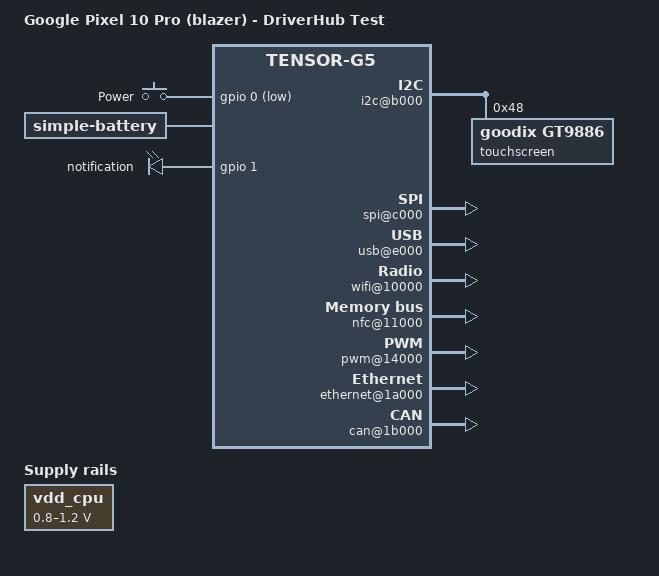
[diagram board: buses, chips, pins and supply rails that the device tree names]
/dts-v1/;

/*
 * Synthetic Pixel 10 Pro (blazer) device tree for DriverHub testing.
 *
 * This DTB exercises module enumeration through compatible strings
 * that match GKI system_dlkm modules. It is NOT a real Pixel 10 DTB —
 * it's a test fixture for validating that DriverHub's DT visitor can
 * enumerate modules and trigger loading.
 *
 * Based on:
 *   - GKI android15-6.6 system_dlkm modules (192 modules)
 *   - Pixel 10 Pro (blazer) SoC: Google Tensor G5
 */

/ {
	model = "Google Pixel 10 Pro (blazer) - DriverHub Test";
	compatible = "google,blazer", "google,tensor-g5";

	#address-cells = <2>;
	#size-cells = <2>;

	chosen {
		bootargs = "console=ttyMSM0,115200n8";
	};

	/* RTC — tests rtc subsystem shims */
	rtc@a000 {
		compatible = "google,tensor-rtc";
		reg = <0x0 0xa000 0x0 0x100>;
		#address-cells = <1>;
		#size-cells = <0>;
	};

	/* I2C bus — tests i2c subsystem */
	i2c@b000 {
		compatible = "google,tensor-i2c";
		reg = <0x0 0xb000 0x0 0x100>;
		#address-cells = <1>;
		#size-cells = <0>;

		/* Touch controller */
		touchscreen@48 {
			compatible = "goodix,gt9886";
			reg = <0x48>;
		};
	};

	/* SPI bus — tests spi subsystem */
	spi@c000 {
		compatible = "google,tensor-spi";
		reg = <0x0 0xc000 0x0 0x100>;
		#address-cells = <1>;
		#size-cells = <0>;
	};

	/* GPIO controller — tests gpio subsystem */
	gpio: gpio@d000 {
		compatible = "google,tensor-gpio";
		reg = <0x0 0xd000 0x0 0x100>;
		gpio-controller;
		#gpio-cells = <2>;
	};

	/* USB — tests usb subsystem shims */
	usb@e000 {
		compatible = "google,tensor-dwc3";
		reg = <0x0 0xe000 0x0 0x1000>;
	};

	/* Bluetooth — exercises bluetooth.ko, rfcomm.ko, btsdio.ko */
	bluetooth {
		compatible = "google,tensor-bt";
	};

	/* WiFi — exercises cfg80211.ko, mac80211.ko */
	wifi@10000 {
		compatible = "google,tensor-wifi";
		reg = <0x0 0x10000 0x0 0x1000>;
	};

	/* NFC — exercises nfc.ko */
	nfc@11000 {
		compatible = "google,tensor-nfc";
		reg = <0x0 0x11000 0x0 0x100>;
	};

	/* Thermal zones — exercises thermal subsystem */
	thermal-zones {
		cpu-thermal {
			polling-delay = <1000>;
			polling-delay-passive = <250>;
			thermal-sensors = <&tsens 0>;
		};
	};

	tsens: thermal-sensor@12000 {
		compatible = "google,tensor-tsens";
		reg = <0x0 0x12000 0x0 0x1000>;
		#thermal-sensor-cells = <1>;
	};

	/* Watchdog — exercises watchdog subsystem */
	watchdog@13000 {
		compatible = "google,tensor-wdt";
		reg = <0x0 0x13000 0x0 0x100>;
	};

	/* PWM — exercises pwm subsystem */
	pwm@14000 {
		compatible = "google,tensor-pwm";
		reg = <0x0 0x14000 0x0 0x100>;
		#pwm-cells = <2>;
	};

	/* Input — exercises input.ko */
	input {
		compatible = "gpio-keys";

		power-key {
			label = "Power";
			linux,code = <116>;  /* KEY_POWER */
			gpios = <&gpio 0 1>;
		};
	};

	/* SCSI / UFS storage — exercises scsi subsystem modules */
	ufs@15000 {
		compatible = "google,tensor-ufs";
		reg = <0x0 0x15000 0x0 0x2000>;
	};

	/* Display / DRM — exercises drm modules */
	display@16000 {
		compatible = "google,tensor-display";
		reg = <0x0 0x16000 0x0 0x10000>;
	};

	/* Power supply — exercises power_supply.ko */
	battery {
		compatible = "simple-battery";
		voltage-min-design-microvolt = <3400000>;
		voltage-max-design-microvolt = <4400000>;
		charge-full-design-microamp-hours = <5000000>;
	};

	/* LEDs — exercises led subsystem */
	leds {
		compatible = "gpio-leds";

		notification-led {
			label = "notification";
			gpios = <&gpio 1 0>;
		};
	};

	/* Regulators — exercises regulator subsystem */
	regulators {
		compatible = "google,tensor-pmic";

		vdd_cpu: regulator@0 {
			compatible = "regulator-fixed";
			regulator-name = "vdd_cpu";
			regulator-min-microvolt = <800000>;
			regulator-max-microvolt = <1200000>;
		};
	};

	/* IOMMU — exercises iommu subsystem */
	iommu@17000 {
		compatible = "google,tensor-smmu";
		reg = <0x0 0x17000 0x0 0x1000>;
		#iommu-cells = <1>;
	};

	/* Clock controller — exercises clock subsystem */
	clock-controller@18000 {
		compatible = "google,tensor-cmu";
		reg = <0x0 0x18000 0x0 0x2000>;
		#clock-cells = <1>;
	};

	/* Pinctrl — exercises pinctrl subsystem */
	pinctrl@19000 {
		compatible = "google,tensor-pinctrl";
		reg = <0x0 0x19000 0x0 0x1000>;
	};

	/* Network — exercises networking modules */
	ethernet@1a000 {
		compatible = "google,tensor-ethernet";
		reg = <0x0 0x1a000 0x0 0x1000>;
	};

	/* CAN bus — exercises can.ko, can-bcm.ko, can-raw.ko, can-gw.ko, vcan.ko */
	can@1b000 {
		compatible = "google,tensor-can";
		reg = <0x0 0x1b000 0x0 0x100>;
	};

	/* Crypto engine — exercises crypto modules */
	crypto@1c000 {
		compatible = "google,tensor-crypto";
		reg = <0x0 0x1c000 0x0 0x1000>;
	};

	/* RNG */
	rng@1d000 {
		compatible = "google,tensor-rng", "cctrng";
		reg = <0x0 0x1d000 0x0 0x100>;
	};

	/* Virtio (for QEMU testing) — exercises virtio_pci.ko */
	virtio@1e000 {
		compatible = "virtio,mmio";
		reg = <0x0 0x1e000 0x0 0x200>;
		interrupts = <0 44 4>;
	};
};
